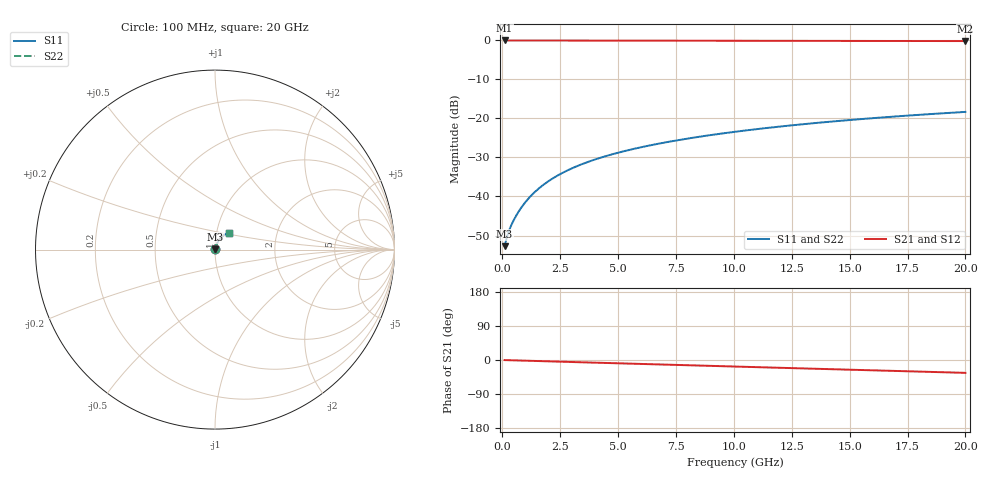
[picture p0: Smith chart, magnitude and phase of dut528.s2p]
! Touchstone file exported from HFSS 2026.1.0
!  File:  C:/ffzhzh/LocalFiles/Ansys_Project_Files/temp_train_TMRDL_528_1783007239_4048.aedt
!  Generated:  11:48:43 PM Jul  2, 2026
!  Design:  TMRDL
!  Project:  temp_train_TMRDL_528_1783007239_4048
! Variables:
!  h_bsmrdl = 2um
!  h_ox = 20um
!  h_rdl = 5um
!  h_sub = 80um
!  h_tmrdl = 4.87um
!  h_tsv = 80um
!  h_via = 3um
!  l_bsmrdl = 300um
!  l_sub = 985.31um
!  l_tmrdl = 585.31um
!  m_sub = 200um
!  pitch = 33.12um
!  r_tsv = 6um
!  s_tmrdl = 10um
!  w_bsmrdl = 18um
!  w_sub = 500um
!  w_tmrdl = 23.99um
!  x_tsv_center1 = 597.305um
!  x_tsv_center2 = 915.305um
!  x_tsv_center3 = 1524.605um
!  x_tsv_center4 = 1842.605um
!  x_tsv_center5 = 2451.905um
!  x_tsv_center6 = 2769.905um
# GHz S MA R 50.000000
! Terminal data exported
! Port[1] = TM_RDL1_1_T1
! Port[2] = TM_RDL1_1_T2
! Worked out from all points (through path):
!   200 points, 100 MHz to 20 GHz, reference 50 ohm
!   highest |S21| = -0.02 dB at 100 MHz (marker M1); lowest = -0.2 dB at 20 GHz (marker M2)
!   group delay of S21, straight-line fit = 4.7 ps
!   lowest |S11| = -52.7 dB at 100 MHz (marker M3), VSWR 1.00, Z = 50.2 + j0.111 ohm
!   |S11| at or under -10 dB: start of sweep to end of sweep
!   |S22| runs from -52.7 to -18.3 dB; largest |S21 - S12| = 2.2e-15
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0.1  0.002308 28.5  0.998 -0.2  0.998 -0.2  0.002308 28.5
! Gamma 0 0 0 0
! Port Impedance 50 0 50 0
0.2  0.003035 41.0  0.9977 -0.4  0.9977 -0.4  0.003035 41.0
0.3  0.003715 47.8  0.9975 -0.6  0.9975 -0.6  0.003715 47.8
0.4  0.004364 52.7  0.9974 -0.7  0.9974 -0.7  0.004364 52.7
0.5  0.005015 56.7  0.9973 -0.9  0.9973 -0.9  0.005015 56.7
0.8  0.007053 64.6  0.9971 -1.4  0.9971 -1.4  0.007053 64.5
1  0.008471 67.7  0.997 -1.8  0.997 -1.8  0.008472 67.7
1.2  0.009916 69.7  0.9969 -2.1  0.9969 -2.1  0.009916 69.7
1.4  0.01137 71.2  0.9967 -2.5  0.9967 -2.5  0.01137 71.2
1.7  0.01357 72.5  0.9965 -3.0  0.9965 -3.0  0.01357 72.5
2.2  0.0172 73.5  0.9961 -3.9  0.9961 -3.9  0.0172 73.5
2.8  0.02148 73.7  0.9955 -4.9  0.9955 -4.9  0.02148 73.6
3.5  0.02635 73.3  0.9948 -6.2  0.9948 -6.2  0.02635 73.3
4.2  0.03109 72.6  0.9941 -7.4  0.9941 -7.4  0.03109 72.6
5  0.03636 71.7  0.9933 -8.7  0.9933 -8.7  0.03636 71.6
5.9  0.04215 70.5  0.9924 -10.3  0.9924 -10.3  0.04215 70.5
6.8  0.0478 69.4  0.9915 -11.8  0.9915 -11.8  0.0478 69.3
8.3  0.057 67.4  0.9901 -14.3  0.9901 -14.3  0.05701 67.3
10.1  0.06774 64.9  0.9885 -17.4  0.9885 -17.4  0.06774 64.9
13.4  0.08665 60.2  0.9856 -22.9  0.9856 -22.9  0.08666 60.1
16.7  0.1045 55.3  0.9827 -28.4  0.9827 -28.4  0.1045 55.2
20  0.1212 50.3  0.9798 -33.9  0.9798 -33.9  0.1212 50.2
